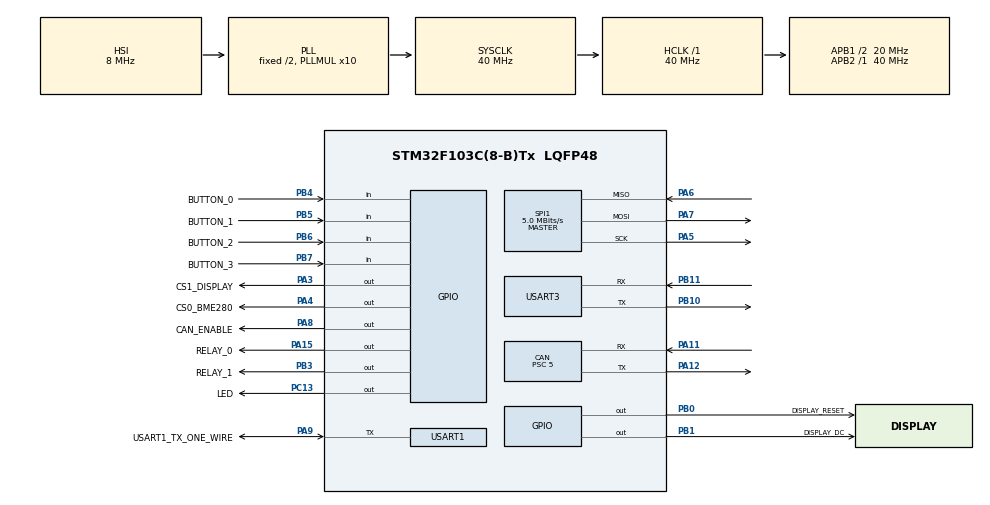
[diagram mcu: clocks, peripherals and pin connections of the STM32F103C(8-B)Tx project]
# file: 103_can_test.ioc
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Mcu.Family=STM32F1
PA6.Mode=Full_Duplex_Master
NVIC.DMA1_Channel5_IRQn=true\:0\:0\:false\:false\:true\:false\:true
SPI1.VirtualType=VM_MASTER
Dma.USART1_TX.1.MemInc=DMA_MINC_ENABLE
PB10.Mode=Asynchronous
PA11.Mode=Master
PB0.GPIO_Label=DISPLAY_RESET
PB6.GPIO_Label=BUTTON_2
NVIC.TIM1_UP_IRQn=true\:0\:0\:false\:false\:true\:true\:true
PB11.Signal=USART3_RX
RCC.SYSCLKSource=RCC_SYSCLKSOURCE_PLLCLK
ProjectManager.StackSize=0x1000
PD1-OSC_OUT.Signal=RCC_OSC_OUT
PA15.GPIO_Label=RELAY_0
PA12.Signal=CAN_TX
NVIC.USB_HP_CAN1_TX_IRQn=true\:0\:0\:false\:false\:true\:true\:true
CAN.Prescaler=5
TIM1.Prescaler=1440
SPI1.Direction=SPI_DIRECTION_2LINES
RCC.HCLKFreq_Value=40000000
RCC.APB2TimFreq_Value=40000000
PB6.Signal=GPIO_Input
SPI1.CalculateBaudRate=5.0 MBits/s
RCC.AHBFreq_Value=40000000
Dma.USART1_RX.0.Priority=DMA_PRIORITY_LOW
RCC.PLLMUL=RCC_PLL_MUL10
PA14.Mode=Serial_Wire
PB1.GPIO_Label=DISPLAY_DC
PB7.Signal=GPIO_Input
PA8.Signal=GPIO_Output
PA15.GPIO_ModeDefaultOutputPP=GPIO_MODE_OUTPUT_OD
Dma.USART1_RX.0.MemInc=DMA_MINC_ENABLE
CAN.CalculateTimeQuantum=250.0
VP_TIM1_VS_ClockSourceINT.Mode=Internal
Dma.USART1_TX.1.PeriphDataAlignment=DMA_PDATAALIGN_BYTE
PB7.GPIO_Label=BUTTON_3
Mcu.Package=LQFP48
PB1.Signal=GPIO_Output
PA6.Signal=SPI1_MISO
PA15.Signal=GPIO_Output
PB5.GPIO_Label=BUTTON_1
Dma.Request1=USART1_TX
RCC.APB1TimFreq_Value=40000000
Dma.USART1_RX.0.Mode=DMA_NORMAL
Dma.USART1_TX.1.Priority=DMA_PRIORITY_LOW
TIM1.Period=50000
NVIC.DMA1_Channel4_IRQn=true\:0\:0\:false\:false\:true\:false\:true
NVIC.USART1_IRQn=true\:0\:0\:false\:false\:true\:true\:true
Dma.Request0=USART1_RX
SPI1.BaudRatePrescaler=SPI_BAUDRATEPRESCALER_8
PA4.GPIO_Label=CS0_BME280
Dma.USART1_RX.0.Instance=DMA1_Channel5
PB4.Signal=GPIO_Input
PA3.Signal=GPIO_Output
PA5.Mode=Full_Duplex_Master
Dma.USART1_TX.1.Direction=DMA_MEMORY_TO_PERIPH
PB3.GPIO_Label=RELAY_1
Dma.USART1_TX.1.Instance=DMA1_Channel4
PA7.Mode=Full_Duplex_Master
PD1-OSC_OUT.Mode=HSE-External-Oscillator
Dma.USART1_RX.0.PeriphDataAlignment=DMA_PDATAALIGN_BYTE
PA9.GPIO_Label=USART1_TX_ONE_WIRE
PC13-TAMPER-RTC.Signal=GPIO_Output
PD0-OSC_IN.Signal=RCC_OSC_IN
RCC.APB1CLKDivider=RCC_HCLK_DIV2
CAN.CalculateTimeBit=2000.00
PA13.Signal=SYS_JTMS-SWDIO
PA9.Mode=Half_duplex(single_wire_mode)
PA8.GPIO_Label=CAN_ENABLE
CAN.BS1=CAN_BS1_6TQ
PB11.Mode=Asynchronous
ProjectManager.TargetToolchain=TrueSTUDIO
Dma.USART1_RX.0.Direction=DMA_PERIPH_TO_MEMORY
PA9.Signal=USART1_TX
RCC.USBFreq_Value=40000000
CAN.Mode=CAN_MODE_NORMAL
Dma.USART1_RX.0.PeriphInc=DMA_PINC_DISABLE
PD0-OSC_IN.Mode=HSE-External-Oscillator
PB10.Signal=USART3_TX
PA5.Signal=SPI1_SCK
Dma.USART1_TX.1.MemDataAlignment=DMA_MDATAALIGN_BYTE
board=custom
PC13-TAMPER-RTC.GPIO_Label=LED
RCC.APB2Freq_Value=40000000
PB4.GPIO_Label=BUTTON_0
SPI1.Mode=SPI_MODE_MASTER
NVIC.USB_LP_CAN1_RX0_IRQn=true\:0\:0\:false\:false\:true\:true\:true
Dma.USART1_RX.0.MemDataAlignment=DMA_MDATAALIGN_BYTE
PA13.Mode=Serial_Wire
Mcu.Name=STM32F103C(8-B)Tx
PB3.Signal=GPIO_Output
PA4.Signal=GPIO_Output
RCC.SYSCLKFreq_VALUE=40000000
PC13-TAMPER-RTC.GPIO_ModeDefaultOutputPP=GPIO_MODE_OUTPUT_PP
PB5.Signal=GPIO_Input
PA12.Mode=Master
USART3.VirtualMode=VM_ASYNC
Dma.USART1_TX.1.Mode=DMA_NORMAL
USART1.VirtualMode=VM_ASYNC
PA11.Signal=CAN_RX
PA14.Signal=SYS_JTCK-SWCLK
ProjectManager.HeapSize=0x200
Dma.USART1_TX.1.PeriphInc=DMA_PINC_DISABLE
NVIC.PriorityGroup=NVIC_PRIORITYGROUP_4
RCC.APB1Freq_Value=20000000
PB0.Signal=GPIO_Output
PA3.GPIO_Label=CS1_DISPLAY
PA7.Signal=SPI1_MOSI

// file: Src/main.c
/* USER CODE BEGIN Header */
/**
  ******************************************************************************
  * @file           : main.c
  * @brief          : Main program body
  ******************************************************************************
  * @attention
  *
  * <h2><center>&copy; Copyright (c) 2019 STMicroelectronics.
  * All rights reserved.</center></h2>
  *
  * This software component is licensed by ST under BSD 3-Clause license,
  * the "License"; You may not use this file except in compliance with the
  * License. You may obtain a copy of the License at:
  *                        opensource.org/licenses/BSD-3-Clause
  *
  ******************************************************************************
  */
/* USER CODE END Header */

#include "main.h"

/* USER CODE BEGIN Includes */
#include <string.h>
#include "bme280.h"
#include "u8g2.h"
#include <stdio.h>

#include "OneWire.h"
#include "DallasTemperature.h"
/* USER CODE END Includes */

/* USER CODE BEGIN PD */

//#define BOILER_TEMP_CAN_ID 0x0d0
#define BOILER_TEMP_CAN_ID 0x0d0
//#define RELAY_CONTROL_CAN_ID 0x080
#define RELAY_CONTROL_CAN_ID 0x090
//#define RELAY_STATUS_CAN_ID 0x081
#define RELAY_STATUS_CAN_ID 0x091

/* USER CODE END PD */

CAN_HandleTypeDef hcan;

SPI_HandleTypeDef hspi1;

TIM_HandleTypeDef htim1;

UART_HandleTypeDef huart1;
UART_HandleTypeDef huart3;
DMA_HandleTypeDef hdma_usart1_rx;
DMA_HandleTypeDef hdma_usart1_tx;

/* USER CODE BEGIN PV */
static u8g2_t u8g2;

int32_t temperature;
uint32_t pressure;
uint32_t humidity;
float input_packet_boiler_temperature;

volatile uint8_t input_packet_boiler_timeout = 0;

volatile uint8_t temperature1timeout = 0;
volatile uint8_t temperature2timeout = 0;
volatile uint8_t humidity1timeout = 0;
volatile uint8_t humidity2timeout = 0;

#define DATA_WAIT_TIMEOUT 10

CAN_FilterTypeDef sFilterConfig;
CAN_TxHeaderTypeDef TxHeader;
CAN_RxHeaderTypeDef RxHeader;
uint8_t TxData[8];
uint8_t RxData[8];
uint32_t TxMailbox;

struct bme280_data comp_data;

volatile uint8_t relays_status = 0x00;

volatile uint8_t test_counter = 0x00;

/* USER CODE END PV */

void SystemClock_Config(void);
static void MX_GPIO_Init(void);
static void MX_DMA_Init(void);
static void MX_CAN_Init(void);
static void MX_SPI1_Init(void);
static void MX_TIM1_Init(void);
static void MX_USART1_UART_Init(void);
static void MX_USART3_UART_Init(void);
/* USER CODE BEGIN PFP */

int _write(int file, char *ptr, int len)
{
 HAL_UART_Transmit(&huart3, (uint8_t *) ptr, len, HAL_MAX_DELAY);
 return len;
}

// function to print a device address
void printAddress(CurrentDeviceAddress deviceAddress)
{
  for (uint8_t i = 0; i < 8; i++)
  {
 char buf[4];
 sprintf(buf, "%02X ", deviceAddress[i]);
 printf(buf);
  }
}

void display_update(void);

/* USER CODE END PFP */

/* USER CODE BEGIN 0 */

/* ******************************************************************************* */
struct bme280_dev dev;

int8_t setup_bme280(void);
void user_delay_ms(uint32_t period);
int8_t user_spi_read(uint8_t dev_id, uint8_t reg_addr, uint8_t *reg_data, uint16_t len);
int8_t user_spi_write(uint8_t dev_id, uint8_t reg_addr, uint8_t *reg_data, uint16_t len);

void read_and_send_ds_data(void);

int8_t setup_bme280(void) {
	int8_t rslt = BME280_OK;
	uint8_t settings_sel;

	/* Sensor_0 interface over SPI with native chip select line */
	dev.dev_id = 0;
	dev.intf = BME280_SPI_INTF;
	dev.read = user_spi_read;
	dev.write = user_spi_write;
	dev.delay_ms = user_delay_ms;

	rslt = bme280_init(&dev);

	/* Recommended mode of operation: Indoor navigation */
	dev.settings.osr_h = BME280_OVERSAMPLING_1X;
	dev.settings.osr_p = BME280_OVERSAMPLING_16X;
	dev.settings.osr_t = BME280_OVERSAMPLING_2X;
	dev.settings.filter = BME280_FILTER_COEFF_16;
	dev.settings.standby_time = BME280_STANDBY_TIME_62_5_MS;

	settings_sel = BME280_OSR_PRESS_SEL;
	settings_sel |= BME280_OSR_TEMP_SEL;
	settings_sel |= BME280_OSR_HUM_SEL;
	settings_sel |= BME280_STANDBY_SEL;
	settings_sel |= BME280_FILTER_SEL;
	rslt = bme280_set_sensor_settings(settings_sel, &dev);
	rslt = bme280_set_sensor_mode(BME280_NORMAL_MODE, &dev);

	return rslt;
}

void user_delay_ms(uint32_t period)
{
	HAL_Delay(period);
    /*
     * Return control or wait,
     * for a period amount of milliseconds
     */
}

int8_t user_spi_read(uint8_t dev_id, uint8_t reg_addr, uint8_t *reg_data, uint16_t len)
{
    int8_t rslt = 0; /* Return 0 for Success, non-zero for failure */

    uint32_t Timeout = 50;

    uint8_t temp_buffer_size = len+1;
    uint8_t temp_buffer_tx[temp_buffer_size];
    uint8_t temp_buffer_rx[temp_buffer_size];

    /* setting values for tx buffer */
    memset(temp_buffer_tx, 0, sizeof(temp_buffer_tx));
    temp_buffer_tx[0] = reg_addr;

    HAL_GPIO_WritePin(CS0_BME280_GPIO_Port, CS0_BME280_Pin, GPIO_PIN_RESET);
    rslt = HAL_SPI_TransmitReceive(&hspi1, temp_buffer_tx, temp_buffer_rx, temp_buffer_size, Timeout);
    HAL_GPIO_WritePin(CS0_BME280_GPIO_Port, CS0_BME280_Pin, GPIO_PIN_SET);

    /* copy received data into origin buffer */
    memcpy(reg_data, &temp_buffer_rx[1], len);

    /*
     * The parameter dev_id can be used as a variable to select which Chip Select pin has
     * to be set low to activate the relevant device on the SPI bus
     */

    /*
     * Data on the bus should be like
     * |----------------+---------------------+-------------|
     * | MOSI           | MISO                | Chip Select |
     * |----------------+---------------------|-------------|
     * | (don't care)   | (don't care)        | HIGH        |
     * | (reg_addr)     | (don't care)        | LOW         |
     * | (don't care)   | (reg_data[0])       | LOW         |
     * | (....)         | (....)              | LOW         |
     * | (don't care)   | (reg_data[len - 1]) | LOW         |
     * | (don't care)   | (don't care)        | HIGH        |
     * |----------------+---------------------|-------------|
     */

    return rslt;
}

int8_t user_spi_write(uint8_t dev_id, uint8_t reg_addr, uint8_t *reg_data, uint16_t len)
{
    int8_t rslt = 0; /* Return 0 for Success, non-zero for failure */

    uint32_t Timeout = 50;

    uint8_t temp_buffer_size = len+1;
    uint8_t temp_buffer[temp_buffer_size];

    /* setting values for tx buffer */
    temp_buffer[0] = reg_addr;
    memcpy(&temp_buffer[1], reg_data, len);

    HAL_GPIO_WritePin(CS0_BME280_GPIO_Port, CS0_BME280_Pin, GPIO_PIN_RESET);
    rslt = HAL_SPI_Transmit(&hspi1, temp_buffer, temp_buffer_size, Timeout);
    HAL_GPIO_WritePin(CS0_BME280_GPIO_Port, CS0_BME280_Pin, GPIO_PIN_SET);

    /*
     * The parameter dev_id can be used as a variable to select which Chip Select pin has
     * to be set low to activate the relevant device on the SPI bus
     */

    /*
     * Data on the bus should be like
     * |---------------------+--------------+-------------|
     * | MOSI                | MISO         | Chip Select |
     * |---------------------+--------------|-------------|
     * | (don't care)        | (don't care) | HIGH        |
     * | (reg_addr)          | (don't care) | LOW         |
     * | (reg_data[0])       | (don't care) | LOW         |
     * | (....)              | (....)       | LOW         |
     * | (reg_data[len - 1]) | (don't care) | LOW         |
     * | (don't care)        | (don't care) | HIGH        |
     * |---------------------+--------------|-------------|
     */

    return rslt;
}

uint8_t u8x8_stm32_gpio_and_delay(U8X8_UNUSED u8x8_t *u8x8,
    U8X8_UNUSED uint8_t msg, U8X8_UNUSED uint8_t arg_int,
    U8X8_UNUSED void *arg_ptr)
{
  switch (msg)
  {
  case U8X8_MSG_GPIO_AND_DELAY_INIT:
    HAL_Delay(1);
    break;
  case U8X8_MSG_DELAY_MILLI:
    HAL_Delay(arg_int);
    break;
  case U8X8_MSG_GPIO_DC:
    HAL_GPIO_WritePin(DISPLAY_DC_GPIO_Port, DISPLAY_DC_Pin, arg_int);
    break;
  case U8X8_MSG_GPIO_RESET:
    HAL_GPIO_WritePin(DISPLAY_RESET_GPIO_Port, DISPLAY_RESET_Pin, arg_int);
    break;
  }
  return 1;
}

uint8_t u8x8_byte_4wire_hw_spi(u8x8_t *u8x8, uint8_t msg, uint8_t arg_int,
    void *arg_ptr)
{
  switch (msg)
  {
  case U8X8_MSG_BYTE_SEND:
    HAL_SPI_Transmit(&hspi1, (uint8_t *) arg_ptr, arg_int, 10000);
    break;
  case U8X8_MSG_BYTE_INIT:
    break;
  case U8X8_MSG_BYTE_SET_DC:
    HAL_GPIO_WritePin(DISPLAY_DC_GPIO_Port, DISPLAY_DC_Pin, arg_int);
    break;
  case U8X8_MSG_BYTE_START_TRANSFER:
		HAL_GPIO_WritePin(CS1_DISPLAY_GPIO_Port, CS1_DISPLAY_Pin, GPIO_PIN_RESET);
    break;
  case U8X8_MSG_BYTE_END_TRANSFER:
		HAL_GPIO_WritePin(CS1_DISPLAY_GPIO_Port, CS1_DISPLAY_Pin, GPIO_PIN_SET);
    break;
  default:
    return 0;
  }
  return 1;
}

//void Control_peripheral_relays(uint8_t flag_holder) {
//	uint8_t flag = 0;
//
//	/* control relays */
//	flag = flag_holder & 0x01;
//	if (flag != 0) {
//		/* on */
//		HAL_GPIO_WritePin(RELAY0_GPIO_Port, RELAY0_Pin, GPIO_PIN_RESET);
//	} else {
//		/* off */
//		HAL_GPIO_WritePin(RELAY0_GPIO_Port, RELAY0_Pin, GPIO_PIN_SET);
//	}
//
//	relays_status = flag_holder;
//}

void read_and_send_ds_data(void) {
	printf("Requesting temperatures...");

	char buf[30];

	DT_RequestTemperatures(); // Send the command to get temperatures
	printf("DONE\r\n");
	// After we got the temperatures, we can print them here.
	// We use the function ByIndex, and as an example get the temperature from the first sensor only.
	printf("Temperature for the device 1 (index 0) is: ");
	float ds_temperature = DT_GetTempCByIndex(0);
	sprintf(buf, "%.2f\r\n", ds_temperature);
	printf(buf);

	TxHeader.StdId = BOILER_TEMP_CAN_ID;
	TxHeader.DLC = 4;

	for (int i=0; i<4 ;++i) {
	  TxData[i] = ((uint8_t*)&ds_temperature)[i];
	}

	HAL_CAN_AddTxMessage(&hcan, &TxHeader, TxData, &TxMailbox);

	HAL_Delay(2500);
	/* send relays status */
	TxHeader.StdId = RELAY_STATUS_CAN_ID;
	TxHeader.DLC = 1;
	TxData[0] = relays_status;
	HAL_CAN_AddTxMessage(&hcan, &TxHeader, TxData, &TxMailbox);
}

void display_update(void) {

	int16_t tempInt;
	uint32_t tempUInt;
	int16_t tempDec;

	u8g2_SetFont(&u8g2, u8g2_font_logisoso18_tr );

	char tmp_string[100];
	u8g2_FirstPage(&u8g2);
	do
	 {

		////// boiler temp
		if(input_packet_boiler_timeout == DATA_WAIT_TIMEOUT){
			sprintf(tmp_string, "B xxx");
		}else{
//			tempInt = (int16_t)(input_packet_boiler_temperature);
//			tempDec = (uint16_t)(input_packet_boiler_temperature%1);
			sprintf(tmp_string, "B %.2f", input_packet_boiler_temperature);
		}
		u8g2_DrawStr(&u8g2, 0, 20, tmp_string);

		//////t1
		if(temperature1timeout == DATA_WAIT_TIMEOUT){
			sprintf(tmp_string, "T xxx");
		}else{
			tempInt = (int16_t)(temperature/100);
			tempDec = (uint16_t)(temperature%100);
			sprintf(tmp_string, "T %d,%u", tempInt, tempDec);
		}
		u8g2_DrawStr(&u8g2, 0, 45, tmp_string);

		//////h1
		if(humidity1timeout == DATA_WAIT_TIMEOUT){
			sprintf(tmp_string, "H xxx");
		}else{
			tempUInt = (uint32_t)(humidity/1024);
			tempDec = (uint16_t)(humidity%1024);
			sprintf(tmp_string, "H %lu,%u", tempUInt, tempDec);
			printf(tmp_string);
		}
		u8g2_DrawStr(&u8g2, 0, 70, tmp_string);

		//////t2
		if(temperature2timeout == DATA_WAIT_TIMEOUT){
			sprintf(tmp_string, "T xxx");
		}else{
			tempInt = (int16_t)(temperature/100);
			tempDec = (uint16_t)(temperature%100);
			sprintf(tmp_string, "T %u,%u", tempInt, tempDec);
		}
		u8g2_DrawStr(&u8g2, 0, 100, tmp_string);

		//////h2
		if(humidity2timeout == DATA_WAIT_TIMEOUT){
			sprintf(tmp_string, "H xxx");
		}else{
			tempUInt = (uint32_t)(humidity/1024);
			tempDec = (uint16_t)(humidity%1024);
		}
		u8g2_DrawStr(&u8g2, 0, 125, tmp_string);

	 } while (u8g2_NextPage(&u8g2));
}

/* USER CODE END 0 */

int main(void)
{

  /* MCU Configuration--------------------------------------------------------*/

  /* Reset of all peripherals, Initializes the Flash interface and the Systick. */
  HAL_Init();

  /* Configure the system clock */
  SystemClock_Config();

  /* Initialize all configured peripherals */
  MX_GPIO_Init();
  MX_DMA_Init();
  MX_CAN_Init();
  MX_SPI1_Init();
  MX_TIM1_Init();
  MX_USART1_UART_Init();
  MX_USART3_UART_Init();
  /* USER CODE BEGIN 2 */

  /* off realays */
//  HAL_GPIO_WritePin(RELAY0_GPIO_Port, RELAY0_Pin, GPIO_PIN_SET);
  HAL_GPIO_WritePin(GPIOA, CAN_ENABLE_Pin, GPIO_PIN_RESET);

  sFilterConfig.FilterBank = 0;
  sFilterConfig.FilterMode = CAN_FILTERMODE_IDMASK;
  sFilterConfig.FilterScale = CAN_FILTERSCALE_32BIT;
  sFilterConfig.FilterIdHigh = 0x0000;
  sFilterConfig.FilterIdLow = 0x0000;
  sFilterConfig.FilterMaskIdHigh = 0x0000;
  sFilterConfig.FilterMaskIdLow = 0x0000;
  sFilterConfig.FilterFIFOAssignment = CAN_RX_FIFO0;
  sFilterConfig.FilterActivation = ENABLE;
  sFilterConfig.SlaveStartFilterBank = 14;
  if (HAL_CAN_ConfigFilter(&hcan, &sFilterConfig) != HAL_OK)
  {
	  /* Filter configuration Error */
	  Error_Handler();
  }

  if (HAL_CAN_Start(&hcan) != HAL_OK)
  {
	  /* Start Error */
	  Error_Handler();
  }

  if (HAL_CAN_ActivateNotification(&hcan, CAN_IT_RX_FIFO0_MSG_PENDING | CAN_IT_TX_MAILBOX_EMPTY) != HAL_OK)
  {
	  /* Notification Error */
	  Error_Handler();
  }

  TxHeader.StdId = BOILER_TEMP_CAN_ID;
  TxHeader.ExtId = 0x00;
  TxHeader.RTR = CAN_RTR_DATA;
  TxHeader.IDE = CAN_ID_STD;
  TxHeader.DLC = 4;
  TxHeader.TransmitGlobalTime = DISABLE;
  TxData[0] = 1;
  TxData[1] = 2;
  TxData[2] = 3;
  TxData[3] = 4;

//  HAL_GPIO_WritePin(CS0_BME280_GPIO_Port, CS0_BME280_Pin, GPIO_PIN_SET);
//  setup_bme280();
//
//
//  HAL_GPIO_WritePin(CS1_DISPLAY_GPIO_Port, CS1_DISPLAY_Pin, GPIO_PIN_SET);
//  u8g2_Setup_ssd1306_128x64_noname_1(&u8g2,
//									 U8G2_R1,
//									 u8x8_byte_4wire_hw_spi,
//									 u8x8_stm32_gpio_and_delay);
//  u8g2_InitDisplay(&u8g2);
//  u8g2_SetPowerSave(&u8g2, 0);
////  int8_t rslt;
//  HAL_TIM_Base_Start_IT(&htim1);
//
//
//
//  	 uint8_t ds_error = 0;
//
//  	 printf("Debug UART is OK!\r\n");
//
////	if(OW_Reset() == OW_OK)
////	{
////		printf("OneWire devices are present :)\r\n");
////	}
////	else
////	{
////		printf("OneWire no devices :(\r\n");
////	}
//
//	// arrays to hold device address
//	CurrentDeviceAddress insideThermometer;
//
//	// locate devices on the bus
//	char buf[30];
//
//	printf("Locating devices...");
//	ds_error = DT_Begin();
//	if (ds_error != DS_OK) {
//		sprintf(buf, "DT_Begin err %d", ds_error);
//		printf(buf);
//	}
//
//	printf("Found ");
//	sprintf(buf, "%d", DT_GetDeviceCount());
//	printf(buf);
//	printf(" devices.\r\n");
//
//	// report parasite power requirements
//	printf("Parasite power is: ");
//	if (DT_IsParasitePowerMode()) printf("ON\r\n");
//	else printf("OFF\r\n");
//
//	if (!DT_GetAddress(insideThermometer, 0)) printf("Unable to find address for Device 0\r\n");
//
//	printf("Device 0 Address: ");
//	printAddress(insideThermometer);
//	printf("\r\n");
//
//	// set the resolution to 12 bit (Each Dallas/Maxim device is capable of several different resolutions)
//	DT_SetResolution(insideThermometer, 12, true);
//
//	printf("Device 0 Resolution: ");
//	sprintf(buf, "%d", DT_GetResolution(insideThermometer));
//	printf(buf);
//	printf("\r\n");
//
  /* USER CODE END 2 */

  /* Infinite loop */
  /* USER CODE BEGIN WHILE */
//	char tmp_string[20];
//
//	memset(tmp_string, 0, 20);
//
//    u8g2_FirstPage(&u8g2);
//    do
//	 {
//	    u8g2_SetFont(&u8g2, u8g2_font_ncenB14_tr);
//		u8g2_DrawStr(&u8g2, 5, 30, "Hello world ");
//	 } while (u8g2_NextPage(&u8g2));

//    read_and_send_ds_data();

  while (1)
  {
    /* USER CODE END WHILE */

    /* USER CODE BEGIN 3 */
//	  read_and_send_ds_data();
	  HAL_Delay(1000);
//	  struct bme280_data comp_data;
//	  rslt = bme280_get_sensor_data(BME280_ALL, &comp_data, &dev);
//      sprintf(tmp_string, "%ld, %ld, %ld\r\n",comp_data.temperature, comp_data.pressure, comp_data.humidity);

//	  HAL_Delay(1000);

	  test_counter++;
		TxHeader.StdId = RELAY_STATUS_CAN_ID;
		TxHeader.DLC = 1;
		TxData[0] = test_counter;
		HAL_CAN_AddTxMessage(&hcan, &TxHeader, TxData, &TxMailbox);

	    HAL_GPIO_TogglePin(GPIOC, LED_Pin);
//	  display_update();
  }
  /* USER CODE END 3 */
}

void SystemClock_Config(void)
{
  RCC_OscInitTypeDef RCC_OscInitStruct = {0};
  RCC_ClkInitTypeDef RCC_ClkInitStruct = {0};

  /** Initializes the CPU, AHB and APB busses clocks
  */
  RCC_OscInitStruct.OscillatorType = RCC_OSCILLATORTYPE_HSI;
  RCC_OscInitStruct.HSIState = RCC_HSI_ON;
  RCC_OscInitStruct.HSICalibrationValue = RCC_HSICALIBRATION_DEFAULT;
  RCC_OscInitStruct.PLL.PLLState = RCC_PLL_ON;
  RCC_OscInitStruct.PLL.PLLSource = RCC_PLLSOURCE_HSI_DIV2;
  RCC_OscInitStruct.PLL.PLLMUL = RCC_PLL_MUL10;
  if (HAL_RCC_OscConfig(&RCC_OscInitStruct) != HAL_OK)
  {
    Error_Handler();
  }
  /** Initializes the CPU, AHB and APB busses clocks
  */
  RCC_ClkInitStruct.ClockType = RCC_CLOCKTYPE_HCLK|RCC_CLOCKTYPE_SYSCLK
                              |RCC_CLOCKTYPE_PCLK1|RCC_CLOCKTYPE_PCLK2;
  RCC_ClkInitStruct.SYSCLKSource = RCC_SYSCLKSOURCE_PLLCLK;
  RCC_ClkInitStruct.AHBCLKDivider = RCC_SYSCLK_DIV1;
  RCC_ClkInitStruct.APB1CLKDivider = RCC_HCLK_DIV2;
  RCC_ClkInitStruct.APB2CLKDivider = RCC_HCLK_DIV1;

  if (HAL_RCC_ClockConfig(&RCC_ClkInitStruct, FLASH_LATENCY_1) != HAL_OK)
  {
    Error_Handler();
  }
}

static void MX_CAN_Init(void)
{

  hcan.Instance = CAN1;
  hcan.Init.Prescaler = 5;
  hcan.Init.Mode = CAN_MODE_NORMAL;
  hcan.Init.SyncJumpWidth = CAN_SJW_1TQ;
  hcan.Init.TimeSeg1 = CAN_BS1_6TQ;
  hcan.Init.TimeSeg2 = CAN_BS2_1TQ;
  hcan.Init.TimeTriggeredMode = DISABLE;
  hcan.Init.AutoBusOff = DISABLE;
  hcan.Init.AutoWakeUp = DISABLE;
  hcan.Init.AutoRetransmission = DISABLE;
  hcan.Init.ReceiveFifoLocked = DISABLE;
  hcan.Init.TransmitFifoPriority = DISABLE;
  if (HAL_CAN_Init(&hcan) != HAL_OK)
  {
    Error_Handler();
  }

}

static void MX_SPI1_Init(void)
{

  /* SPI1 parameter configuration*/
  hspi1.Instance = SPI1;
  hspi1.Init.Mode = SPI_MODE_MASTER;
  hspi1.Init.Direction = SPI_DIRECTION_2LINES;
  hspi1.Init.DataSize = SPI_DATASIZE_8BIT;
  hspi1.Init.CLKPolarity = SPI_POLARITY_LOW;
  hspi1.Init.CLKPhase = SPI_PHASE_1EDGE;
  hspi1.Init.NSS = SPI_NSS_SOFT;
  hspi1.Init.BaudRatePrescaler = SPI_BAUDRATEPRESCALER_8;
  hspi1.Init.FirstBit = SPI_FIRSTBIT_MSB;
  hspi1.Init.TIMode = SPI_TIMODE_DISABLE;
  hspi1.Init.CRCCalculation = SPI_CRCCALCULATION_DISABLE;
  hspi1.Init.CRCPolynomial = 10;
  if (HAL_SPI_Init(&hspi1) != HAL_OK)
  {
    Error_Handler();
  }

}

static void MX_TIM1_Init(void)
{

  TIM_ClockConfigTypeDef sClockSourceConfig = {0};
  TIM_MasterConfigTypeDef sMasterConfig = {0};

  htim1.Instance = TIM1;
  htim1.Init.Prescaler = 1440;
  htim1.Init.CounterMode = TIM_COUNTERMODE_UP;
  htim1.Init.Period = 50000;
  htim1.Init.ClockDivision = TIM_CLOCKDIVISION_DIV1;
  htim1.Init.RepetitionCounter = 0;
  htim1.Init.AutoReloadPreload = TIM_AUTORELOAD_PRELOAD_DISABLE;
  if (HAL_TIM_Base_Init(&htim1) != HAL_OK)
  {
    Error_Handler();
  }
  sClockSourceConfig.ClockSource = TIM_CLOCKSOURCE_INTERNAL;
  if (HAL_TIM_ConfigClockSource(&htim1, &sClockSourceConfig) != HAL_OK)
  {
    Error_Handler();
  }
  sMasterConfig.MasterOutputTrigger = TIM_TRGO_RESET;
  sMasterConfig.MasterSlaveMode = TIM_MASTERSLAVEMODE_DISABLE;
  if (HAL_TIMEx_MasterConfigSynchronization(&htim1, &sMasterConfig) != HAL_OK)
  {
    Error_Handler();
  }

}

static void MX_USART1_UART_Init(void)
{

  huart1.Instance = USART1;
  huart1.Init.BaudRate = 115200;
  huart1.Init.WordLength = UART_WORDLENGTH_8B;
  huart1.Init.StopBits = UART_STOPBITS_1;
  huart1.Init.Parity = UART_PARITY_NONE;
  huart1.Init.Mode = UART_MODE_TX_RX;
  huart1.Init.HwFlowCtl = UART_HWCONTROL_NONE;
  huart1.Init.OverSampling = UART_OVERSAMPLING_16;
  if (HAL_HalfDuplex_Init(&huart1) != HAL_OK)
  {
    Error_Handler();
  }

}

static void MX_USART3_UART_Init(void)
{

  huart3.Instance = USART3;
  huart3.Init.BaudRate = 115200;
  huart3.Init.WordLength = UART_WORDLENGTH_8B;
  huart3.Init.StopBits = UART_STOPBITS_1;
  huart3.Init.Parity = UART_PARITY_NONE;
  huart3.Init.Mode = UART_MODE_TX_RX;
  huart3.Init.HwFlowCtl = UART_HWCONTROL_NONE;
  huart3.Init.OverSampling = UART_OVERSAMPLING_16;
  if (HAL_UART_Init(&huart3) != HAL_OK)
  {
    Error_Handler();
  }

}

static void MX_DMA_Init(void)
{

  /* DMA controller clock enable */
  __HAL_RCC_DMA1_CLK_ENABLE();

  /* DMA interrupt init */
  /* DMA1_Channel4_IRQn interrupt configuration */
  HAL_NVIC_SetPriority(DMA1_Channel4_IRQn, 0, 0);
  HAL_NVIC_EnableIRQ(DMA1_Channel4_IRQn);
  /* DMA1_Channel5_IRQn interrupt configuration */
  HAL_NVIC_SetPriority(DMA1_Channel5_IRQn, 0, 0);
  HAL_NVIC_EnableIRQ(DMA1_Channel5_IRQn);

}

static void MX_GPIO_Init(void)
{
  GPIO_InitTypeDef GPIO_InitStruct = {0};

  /* GPIO Ports Clock Enable */
  __HAL_RCC_GPIOC_CLK_ENABLE();
  __HAL_RCC_GPIOD_CLK_ENABLE();
  __HAL_RCC_GPIOA_CLK_ENABLE();
  __HAL_RCC_GPIOB_CLK_ENABLE();

  /*Configure GPIO pin Output Level */
  HAL_GPIO_WritePin(LED_GPIO_Port, LED_Pin, GPIO_PIN_RESET);

  /*Configure GPIO pin Output Level */
  HAL_GPIO_WritePin(GPIOA, CS1_DISPLAY_Pin|CS0_BME280_Pin|CAN_ENABLE_Pin|RELAY_0_Pin, GPIO_PIN_RESET);

  /*Configure GPIO pin Output Level */
  HAL_GPIO_WritePin(GPIOB, DISPLAY_RESET_Pin|DISPLAY_DC_Pin|RELAY_1_Pin, GPIO_PIN_RESET);

  /*Configure GPIO pin : LED_Pin */
  GPIO_InitStruct.Pin = LED_Pin;
  GPIO_InitStruct.Mode = GPIO_MODE_OUTPUT_PP;
  GPIO_InitStruct.Pull = GPIO_NOPULL;
  GPIO_InitStruct.Speed = GPIO_SPEED_FREQ_LOW;
  HAL_GPIO_Init(LED_GPIO_Port, &GPIO_InitStruct);

  /*Configure GPIO pins : CS1_DISPLAY_Pin CS0_BME280_Pin CAN_ENABLE_Pin */
  GPIO_InitStruct.Pin = CS1_DISPLAY_Pin|CS0_BME280_Pin|CAN_ENABLE_Pin;
  GPIO_InitStruct.Mode = GPIO_MODE_OUTPUT_PP;
  GPIO_InitStruct.Pull = GPIO_NOPULL;
  GPIO_InitStruct.Speed = GPIO_SPEED_FREQ_LOW;
  HAL_GPIO_Init(GPIOA, &GPIO_InitStruct);

  /*Configure GPIO pins : DISPLAY_RESET_Pin DISPLAY_DC_Pin RELAY_1_Pin */
  GPIO_InitStruct.Pin = DISPLAY_RESET_Pin|DISPLAY_DC_Pin|RELAY_1_Pin;
  GPIO_InitStruct.Mode = GPIO_MODE_OUTPUT_PP;
  GPIO_InitStruct.Pull = GPIO_NOPULL;
  GPIO_InitStruct.Speed = GPIO_SPEED_FREQ_LOW;
  HAL_GPIO_Init(GPIOB, &GPIO_InitStruct);

  /*Configure GPIO pin : RELAY_0_Pin */
  GPIO_InitStruct.Pin = RELAY_0_Pin;
  GPIO_InitStruct.Mode = GPIO_MODE_OUTPUT_OD;
  GPIO_InitStruct.Pull = GPIO_NOPULL;
  GPIO_InitStruct.Speed = GPIO_SPEED_FREQ_LOW;
  HAL_GPIO_Init(RELAY_0_GPIO_Port, &GPIO_InitStruct);

  /*Configure GPIO pins : BUTTON_0_Pin BUTTON_1_Pin BUTTON_2_Pin BUTTON_3_Pin */
  GPIO_InitStruct.Pin = BUTTON_0_Pin|BUTTON_1_Pin|BUTTON_2_Pin|BUTTON_3_Pin;
  GPIO_InitStruct.Mode = GPIO_MODE_INPUT;
  GPIO_InitStruct.Pull = GPIO_NOPULL;
  HAL_GPIO_Init(GPIOB, &GPIO_InitStruct);

}

/* USER CODE BEGIN 4 */
void HAL_CAN_TxMailbox0CompleteCallback(CAN_HandleTypeDef *hcan_)
{
//	HAL_GPIO_TogglePin(GPIOC, LED_Pin);
}

void HAL_CAN_RxFifo0MsgPendingCallback(CAN_HandleTypeDef *hcan_)
{
	HAL_CAN_GetRxMessage(&hcan, CAN_RX_FIFO0, &RxHeader, RxData);
//	HAL_GPIO_TogglePin(GPIOC, LED_Pin);
//
//	 uint32_t u;
//	  u = RxData[0];
//	  u += (uint32_t)(RxData[1] << 8);
//	  u += (uint32_t)(RxData[2] << 16);
//	  u += (uint32_t)(RxData[3] << 24);
//
//
//
//
//	if(RxHeader.StdId==0xf0){
//		pressure = u;
//	}else if(RxHeader.StdId==0xf0+1){
//		temperature = u;
//		temperature1timeout = 0;
//		temperature2timeout = 0;
//	}else if(RxHeader.StdId==0xf0+2){
//		humidity = u;
//		humidity1timeout = 0;
//		humidity2timeout = 0;
//	}else if(RxHeader.StdId==RELAY_CONTROL_CAN_ID){
//		Control_peripheral_relays(RxData[0]);
//	}else if(RxHeader.StdId==BOILER_TEMP_CAN_ID){
//		input_packet_boiler_temperature = u;
//		for (int i=0; i<4 ;++i) {
//			((uint8_t*)&input_packet_boiler_temperature)[i] = RxData[i];
//		}
//		input_packet_boiler_timeout = 0;
//	}
}

void HAL_TIM_PeriodElapsedCallback(TIM_HandleTypeDef *htim)
{
  if( htim->Instance == TIM1 ){
//	HAL_GPIO_TogglePin(GPIOC, LED_Pin);
	++temperature1timeout;
	++temperature2timeout;
	++humidity1timeout;
	++humidity2timeout;
	++input_packet_boiler_timeout;

	if(temperature1timeout>= DATA_WAIT_TIMEOUT){
		temperature1timeout = DATA_WAIT_TIMEOUT;
	}

	if(temperature2timeout>= DATA_WAIT_TIMEOUT){
		temperature2timeout = DATA_WAIT_TIMEOUT;
	}

	if(humidity1timeout>= DATA_WAIT_TIMEOUT){
		humidity1timeout = DATA_WAIT_TIMEOUT;
	}

	if(humidity2timeout>= DATA_WAIT_TIMEOUT){
		humidity2timeout = DATA_WAIT_TIMEOUT;
	}

	if(input_packet_boiler_timeout>= DATA_WAIT_TIMEOUT){
		input_packet_boiler_timeout = DATA_WAIT_TIMEOUT;
	}
 }
}
/* USER CODE END 4 */

void Error_Handler(void)
{
}

/************************ (C) COPYRIGHT STMicroelectronics *****END OF FILE****/
